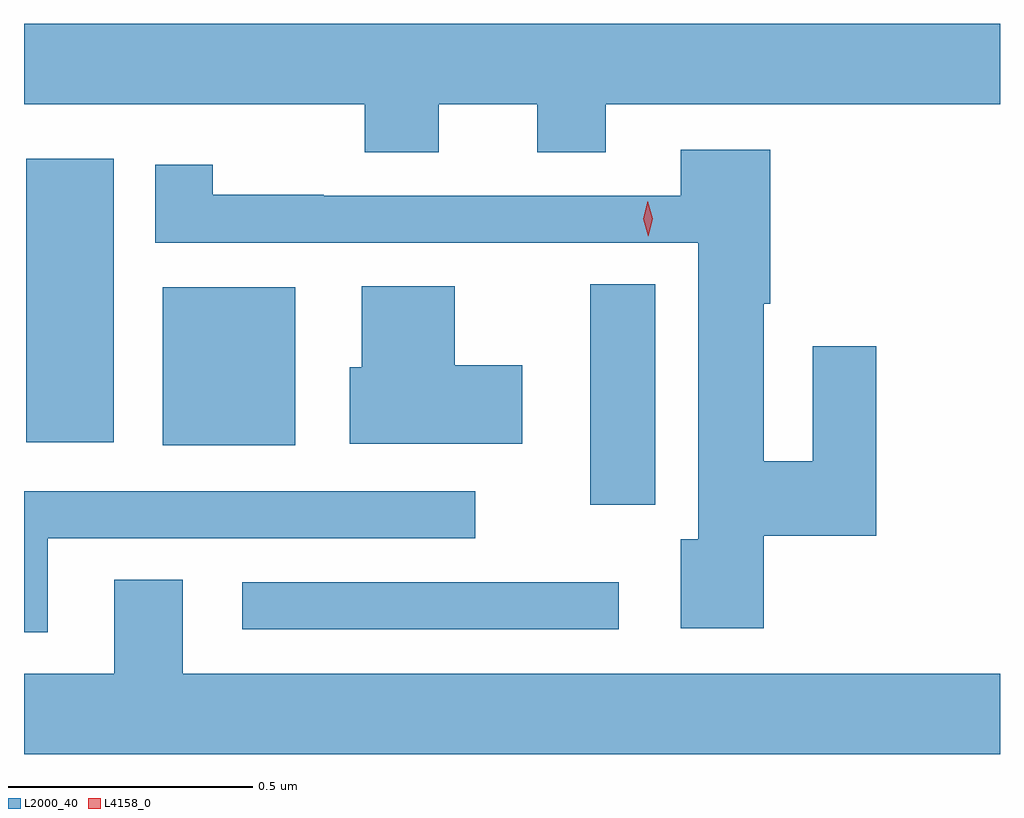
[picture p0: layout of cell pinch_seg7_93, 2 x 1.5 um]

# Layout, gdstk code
import gdstk
lib = gdstk.Library(unit=1e-6, precision=1e-09)
def R(c, l, rs):  # rectangles x0, y0, x1, y1
    for r in rs: c.add(gdstk.rectangle(r[:2], r[2:], *l))
def P(c, l, *ps):  # polygons
    for p in ps: c.add(gdstk.Polygon(p, *l))
L2000_40 = (2000, 40)
L4158_0 = (4158, 0)

pinch_seg7_93 = lib.new_cell('pinch_seg7_93')
R(pinch_seg7_93, L2000_40, [(964.725,1024.848,965.497,1024.944), (965.438,1025.103,965.572,1025.555), (964.562,1025.225,964.834,1025.548), (964.283,1025.231,964.462,1025.812)])
P(pinch_seg7_93, L2000_40, [(965.128,1025.924),(965.33,1025.924),(965.33,1025.825),(965.47,1025.825),(965.47,1025.924),(966.278,1025.924),(966.278,1026.088),(964.278,1026.088),(964.278,1025.924),(964.976,1025.924),(964.976,1025.825),(965.128,1025.825)],
  [(965.794,1025.039),(966.024,1025.039),(966.024,1025.428),(965.894,1025.428),(965.894,1025.192),(965.794,1025.192),(965.794,1025.515),(965.807,1025.515),(965.807,1025.83),(965.624,1025.83),(965.624,1025.736),(964.892,1025.736),(964.892,1025.738),(964.665,1025.738),(964.665,1025.8),(964.547,1025.8),(964.547,1025.64),(965.66,1025.64),(965.66,1025.032),(965.624,1025.032),(965.624,1024.85),(965.794,1024.85)],
  [(965.299,1025.389),(965.161,1025.389),(965.161,1025.551),(964.97,1025.551),(964.97,1025.385),(964.946,1025.385),(964.946,1025.228),(965.299,1025.228)],
  [(964.327,1025.034),(965.203,1025.034),(965.203,1025.13),(964.278,1025.13),(964.278,1024.842),(964.327,1024.842)],
  [(966.278,1024.756),(964.603,1024.756),(964.603,1024.949),(964.463,1024.949),(964.463,1024.756),(964.278,1024.756),(964.278,1024.592),(966.278,1024.592)])
P(pinch_seg7_93, L4158_0, [(965.557,1025.653),(965.557,1025.653),(965.547,1025.689),(965.556,1025.725),(965.556,1025.725),(965.556,1025.725),(965.566,1025.689),(965.557,1025.653)])

lib.write_gds('pinch_seg7_93.gds')
